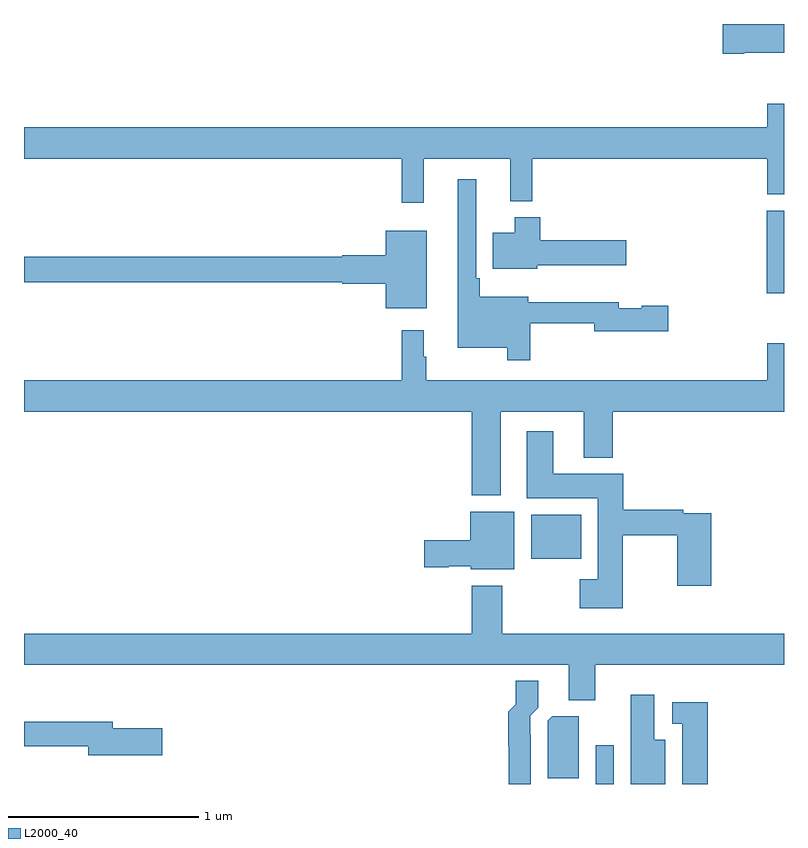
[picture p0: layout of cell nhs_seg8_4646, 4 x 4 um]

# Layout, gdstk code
import gdstk
lib = gdstk.Library(unit=1e-6, precision=1e-09)
def R(c, l, rs):  # rectangles x0, y0, x1, y1
    for r in rs: c.add(gdstk.rectangle(r[:2], r[2:], *l))
def P(c, l, *ps):  # polygons
    for p in ps: c.add(gdstk.Polygon(p, *l))
L2000_40 = (2000, 40)

nhs_seg8_4646 = lib.new_cell('nhs_seg8_4646')
R(nhs_seg8_4646, L2000_40, [(396.009,1087.9,396.105,1088.104), (395.669,1089.086,395.932,1089.316), (396.908,1090.484,397,1090.918)])
P(nhs_seg8_4646, L2000_40, [(396.79,1091.75),(397,1091.75),(397,1091.9),(396.678,1091.9),(396.678,1091.743),(396.79,1091.743)],
  [(395.105,1091.192),(395.558,1091.192),(395.558,1090.967),(395.675,1090.967),(395.675,1091.192),(396.911,1091.192),(396.911,1091.003),(397,1091.003),(397,1091.48),(396.911,1091.48),(396.911,1091.356),(393,1091.356),(393,1091.192),(394.987,1091.192),(394.987,1090.959),(395.105,1090.959)],
  [(395.665,1090.326),(396.002,1090.326),(396.002,1090.283),(396.391,1090.283),(396.391,1090.418),(396.252,1090.418),(396.252,1090.405),(396.13,1090.405),(396.13,1090.436),(395.653,1090.436),(395.653,1090.465),(395.399,1090.465),(395.399,1090.561),(395.379,1090.561),(395.379,1091.083),(395.282,1091.083),(395.282,1090.196),(395.544,1090.196),(395.544,1090.131),(395.665,1090.131)],
  [(395.7,1090.631),(396.169,1090.631),(396.169,1090.761),(395.717,1090.761),(395.717,1090.882),(395.582,1090.882),(395.582,1090.801),(395.468,1090.801),(395.468,1090.613),(395.7,1090.613)],
  [(395.119,1090.813),(394.904,1090.813),(394.904,1090.684),(394.674,1090.684),(394.674,1090.676),(393,1090.676),(393,1090.54),(394.674,1090.54),(394.674,1090.532),(394.904,1090.532),(394.904,1090.403),(395.119,1090.403)],
  [(395.509,1089.86),(395.945,1089.86),(395.945,1089.617),(396.098,1089.617),(396.098,1089.86),(397,1089.86),(397,1090.219),(396.911,1090.219),(396.911,1090.024),(395.116,1090.024),(395.116,1090.148),(395.104,1090.148),(395.104,1090.288),(394.987,1090.288),(394.987,1090.024),(393,1090.024),(393,1089.86),(395.357,1089.86),(395.357,1089.419),(395.509,1089.419)],
  [(396.15,1089.208),(396.439,1089.208),(396.439,1088.943),(396.617,1088.943),(396.617,1089.324),(396.47,1089.324),(396.47,1089.344),(396.155,1089.344),(396.155,1089.532),(395.785,1089.532),(395.785,1089.757),(395.645,1089.757),(395.645,1089.404),(396.02,1089.404),(396.02,1088.977),(395.925,1088.977),(395.925,1088.825),(396.15,1088.825)],
  [(395.581,1089.334),(395.348,1089.334),(395.348,1089.182),(395.106,1089.182),(395.106,1089.04),(395.235,1089.04),(395.235,1089.047),(395.352,1089.047),(395.352,1089.029),(395.581,1089.029)],
  [(396.007,1088.528),(397,1088.528),(397,1088.692),(395.517,1088.692),(395.517,1088.944),(395.357,1088.944),(395.357,1088.692),(393,1088.692),(393,1088.528),(395.867,1088.528),(395.867,1088.341),(396.007,1088.341)],
  [(395.667,1088.159),(395.664,1088.159),(395.664,1088.259),(395.707,1088.302),(395.707,1088.443),(395.587,1088.443),(395.587,1088.319),(395.549,1088.28),(395.549,1088.098),(395.551,1088.098),(395.551,1087.9),(395.667,1087.9)],
  [(396.376,1088.134),(396.316,1088.134),(396.316,1088.371),(396.194,1088.371),(396.194,1087.9),(396.376,1087.9)],
  [(396.599,1088.329),(396.411,1088.329),(396.411,1088.216),(396.464,1088.216),(396.464,1087.9),(396.599,1087.9)],
  [(395.919,1088.041),(395.92,1088.041),(395.92,1088.256),(395.781,1088.256),(395.757,1088.232),(395.757,1087.93),(395.919,1087.93)],
  [(393.727,1088.193),(393.466,1088.193),(393.466,1088.227),(393,1088.227),(393,1088.098),(393.338,1088.098),(393.338,1088.051),(393.727,1088.051)])

lib.write_gds('nhs_seg8_4646.gds')
